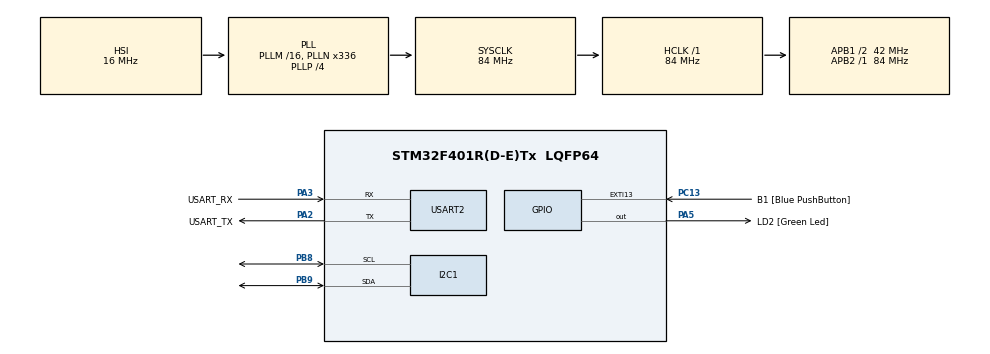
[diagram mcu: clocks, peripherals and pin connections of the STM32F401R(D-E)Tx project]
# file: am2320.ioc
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I2C1.AddressingMode=I2C_ADDRESSINGMODE_7BIT
Mcu.Family=STM32F4
Mcu.Name=STM32F401R(D-E)Tx
Mcu.Package=LQFP64
NVIC.I2C1_ER_IRQn=true\:0\:0\:false\:false\:true\:true\:true
NVIC.I2C1_EV_IRQn=true\:0\:0\:false\:false\:true\:true\:true
NVIC.PriorityGroup=NVIC_PRIORITYGROUP_0
NVIC.USART2_IRQn=true\:0\:0\:false\:false\:true\:true\:true
PA13.GPIO_Label=TMS
PA13.Mode=Trace_Asynchronous_SW
PA13.Signal=SYS_JTMS-SWDIO
PA14.GPIO_Label=TCK
PA14.Mode=Trace_Asynchronous_SW
PA14.Signal=SYS_JTCK-SWCLK
PA2.GPIO_Label=USART_TX
PA2.GPIO_Mode=GPIO_MODE_AF_PP
PA2.GPIO_PuPd=GPIO_NOPULL
PA2.GPIO_Speed=GPIO_SPEED_FREQ_LOW
PA2.Mode=Asynchronous
PA2.Signal=USART2_TX
PA3.GPIO_Label=USART_RX
PA3.GPIO_Mode=GPIO_MODE_AF_PP
PA3.GPIO_PuPd=GPIO_NOPULL
PA3.GPIO_Speed=GPIO_SPEED_FREQ_LOW
PA3.Mode=Asynchronous
PA3.Signal=USART2_RX
PA5.GPIO_Label=LD2 [Green Led]
PA5.GPIO_Mode=GPIO_MODE_OUTPUT_PP
PA5.GPIO_PuPd=GPIO_NOPULL
PA5.GPIO_Speed=GPIO_SPEED_FREQ_LOW
PA5.Signal=GPIO_Output
PB3.GPIO_Label=SWO
PB3.Mode=Trace_Asynchronous_SW
PB3.Signal=SYS_JTDO-SWO
PB8.GPIO_Speed=GPIO_SPEED_FREQ_VERY_HIGH
PB8.Mode=I2C
PB8.Signal=I2C1_SCL
PB9.GPIO_Speed=GPIO_SPEED_FREQ_VERY_HIGH
PB9.Mode=I2C
PB9.Signal=I2C1_SDA
PC13-ANTI_TAMP.GPIO_Label=B1 [Blue PushButton]
PC13-ANTI_TAMP.GPIO_ModeDefaultEXTI=GPIO_MODE_IT_FALLING
PC13-ANTI_TAMP.GPIO_PuPd=GPIO_NOPULL
PC13-ANTI_TAMP.Signal=GPXTI13
ProjectManager.HeapSize=0x200
ProjectManager.StackSize=0x400
ProjectManager.TargetToolchain=TrueSTUDIO
RCC.AHBFreq_Value=84000000
RCC.APB1CLKDivider=RCC_HCLK_DIV2
RCC.APB1Freq_Value=42000000
RCC.APB1TimFreq_Value=84000000
RCC.APB2Freq_Value=84000000
RCC.APB2TimFreq_Value=84000000
RCC.CortexFreq_Value=84000000
RCC.HCLKFreq_Value=84000000
RCC.HSE_VALUE=8000000
RCC.HSI_VALUE=16000000
RCC.LSE_VALUE=32768
RCC.PLLN=336
RCC.PLLP=RCC_PLLP_DIV4
RCC.PLLQ=7
RCC.SYSCLKFreq_VALUE=84000000
RCC.SYSCLKSource=RCC_SYSCLKSOURCE_PLLCLK
RCC.VCOOutputFreq_Value=336000000
USART2.VirtualMode=VM_ASYNC
board=NUCLEO-F401RE

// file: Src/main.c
/* USER CODE BEGIN Header */
/**
 ******************************************************************************
 * @file           : main.c
 * @brief          : Main program body
 ******************************************************************************
 * @attention
 *
 Copyright 2019 SimpleMethod

 Permission is hereby granted, free of charge, to any person obtaining a copy of
 this software and associated documentation files (the "Software"), to deal in
 the Software without restriction, including without limitation the rights to
 use, copy, modify, merge, publish, distribute, sublicense, and/or sell copies
 of the Software, and to permit persons to whom the Software is furnished to do
 so, subject to the following conditions:

 The above copyright notice and this permission notice shall be included in all
 copies or substantial portions of the Software.

 THE SOFTWARE IS PROVIDED "AS IS", WITHOUT WARRANTY OF ANY KIND, EXPRESS OR
 IMPLIED, INCLUDING BUT NOT LIMITED TO THE WARRANTIES OF MERCHANTABILITY,
 FITNESS FOR A PARTICULAR PURPOSE AND NONINFRINGEMENT. IN NO EVENT SHALL THE
 AUTHORS OR COPYRIGHT HOLDERS BE LIABLE FOR ANY CLAIM, DAMAGES OR OTHER
 LIABILITY, WHETHER IN AN ACTION OF CONTRACT, TORT OR OTHERWISE, ARISING FROM,
 OUT OF OR IN CONNECTION WITH THE SOFTWARE OR THE USE OR OTHER DEALINGS IN
 THE SOFTWARE.
 ******************************************************************************
 */
/* USER CODE END Header */

#include "main.h"

/* USER CODE BEGIN Includes */
#include <stdio.h>
#include <stdarg.h>
#include <string.h>

#include "am2320.h"
/* USER CODE END Includes */

I2C_HandleTypeDef hi2c1;
UART_HandleTypeDef huart2;

void SystemClock_Config(void);
static void MX_GPIO_Init(void);
static void MX_I2C1_Init(void);
static void MX_USART2_UART_Init(void);

/* USER CODE BEGIN 0 */
void vprint(const char *fmt, va_list argp) {
	char string[200];
	if (0 < vsprintf(string, fmt, argp)) // build string
			{
		HAL_UART_Transmit(&huart2, (uint8_t*) string, strlen(string), 0xffffff); // send message via UART
	}
}

void my_printf(const char *fmt, ...) // custom printf() function
{
	va_list argp;
	va_start(argp, fmt);
	vprint(fmt, argp);
	va_end(argp);
}

/* USER CODE END 0 */

int main(void) {

	/* MCU Configuration--------------------------------------------------------*/

	/* Reset of all peripherals, Initializes the Flash interface and the Systick. */
	HAL_Init();

	/* Configure the system clock */
	SystemClock_Config();

	/* Initialize all configured peripherals */
	MX_GPIO_Init();
	MX_I2C1_Init();
	MX_USART2_UART_Init();
	/* USER CODE BEGIN 2 */
	Am2320_HandleTypeDef Am2320_;
	Am2320_ = am2320_Init(&hi2c1, AM2320_ADDRESS);
	float temperature, humidity;
	/* USER CODE END 2 */
	/* Infinite loop */
	/* USER CODE BEGIN WHILE */
	while (1) {
		am2320_GetTemperatureAndHumidity(&Am2320_, &temperature, &humidity);
		my_printf("=====================================\r\n");
		my_printf("Temperature: %.1fºC\r\n", temperature);
		my_printf("Humidity: %.1f%%\r\n", humidity);
		HAL_Delay(3000);
		/* USER CODE END WHILE */
	}
}

void SystemClock_Config(void) {
	RCC_OscInitTypeDef RCC_OscInitStruct = { 0 };
	RCC_ClkInitTypeDef RCC_ClkInitStruct = { 0 };

	/** Configure the main internal regulator output voltage
	 */
	__HAL_RCC_PWR_CLK_ENABLE()
	;
	__HAL_PWR_VOLTAGESCALING_CONFIG(PWR_REGULATOR_VOLTAGE_SCALE2);
	/** Initializes the CPU, AHB and APB busses clocks
	 */
	RCC_OscInitStruct.OscillatorType = RCC_OSCILLATORTYPE_HSI;
	RCC_OscInitStruct.HSIState = RCC_HSI_ON;
	RCC_OscInitStruct.HSICalibrationValue = RCC_HSICALIBRATION_DEFAULT;
	RCC_OscInitStruct.PLL.PLLState = RCC_PLL_ON;
	RCC_OscInitStruct.PLL.PLLSource = RCC_PLLSOURCE_HSI;
	RCC_OscInitStruct.PLL.PLLM = 16;
	RCC_OscInitStruct.PLL.PLLN = 336;
	RCC_OscInitStruct.PLL.PLLP = RCC_PLLP_DIV4;
	RCC_OscInitStruct.PLL.PLLQ = 7;
	if (HAL_RCC_OscConfig(&RCC_OscInitStruct) != HAL_OK) {
		Error_Handler();
	}
	/** Initializes the CPU, AHB and APB busses clocks
	 */
	RCC_ClkInitStruct.ClockType = RCC_CLOCKTYPE_HCLK | RCC_CLOCKTYPE_SYSCLK
			| RCC_CLOCKTYPE_PCLK1 | RCC_CLOCKTYPE_PCLK2;
	RCC_ClkInitStruct.SYSCLKSource = RCC_SYSCLKSOURCE_PLLCLK;
	RCC_ClkInitStruct.AHBCLKDivider = RCC_SYSCLK_DIV1;
	RCC_ClkInitStruct.APB1CLKDivider = RCC_HCLK_DIV2;
	RCC_ClkInitStruct.APB2CLKDivider = RCC_HCLK_DIV1;

	if (HAL_RCC_ClockConfig(&RCC_ClkInitStruct, FLASH_LATENCY_2) != HAL_OK) {
		Error_Handler();
	}
}

static void MX_I2C1_Init(void) {

	hi2c1.Instance = I2C1;
	hi2c1.Init.ClockSpeed = 100000;
	hi2c1.Init.DutyCycle = I2C_DUTYCYCLE_2;
	hi2c1.Init.OwnAddress1 = 0;
	hi2c1.Init.AddressingMode = I2C_ADDRESSINGMODE_7BIT;
	hi2c1.Init.DualAddressMode = I2C_DUALADDRESS_DISABLE;
	hi2c1.Init.OwnAddress2 = 0;
	hi2c1.Init.GeneralCallMode = I2C_GENERALCALL_DISABLE;
	hi2c1.Init.NoStretchMode = I2C_NOSTRETCH_DISABLE;
	if (HAL_I2C_Init(&hi2c1) != HAL_OK) {
		Error_Handler();
	}

}

static void MX_USART2_UART_Init(void) {

	huart2.Instance = USART2;
	huart2.Init.BaudRate = 115200;
	huart2.Init.WordLength = UART_WORDLENGTH_8B;
	huart2.Init.StopBits = UART_STOPBITS_1;
	huart2.Init.Parity = UART_PARITY_NONE;
	huart2.Init.Mode = UART_MODE_TX_RX;
	huart2.Init.HwFlowCtl = UART_HWCONTROL_NONE;
	huart2.Init.OverSampling = UART_OVERSAMPLING_16;
	if (HAL_UART_Init(&huart2) != HAL_OK) {
		Error_Handler();
	}

}

static void MX_GPIO_Init(void) {
	GPIO_InitTypeDef GPIO_InitStruct = { 0 };

	/* GPIO Ports Clock Enable */
	__HAL_RCC_GPIOC_CLK_ENABLE()
	;
	__HAL_RCC_GPIOA_CLK_ENABLE()
	;
	__HAL_RCC_GPIOB_CLK_ENABLE()
	;

	/*Configure GPIO pin Output Level */
	HAL_GPIO_WritePin(LD2_GPIO_Port, LD2_Pin, GPIO_PIN_RESET);

	/*Configure GPIO pin : B1_Pin */
	GPIO_InitStruct.Pin = B1_Pin;
	GPIO_InitStruct.Mode = GPIO_MODE_IT_FALLING;
	GPIO_InitStruct.Pull = GPIO_NOPULL;
	HAL_GPIO_Init(B1_GPIO_Port, &GPIO_InitStruct);

	/*Configure GPIO pin : LD2_Pin */
	GPIO_InitStruct.Pin = LD2_Pin;
	GPIO_InitStruct.Mode = GPIO_MODE_OUTPUT_PP;
	GPIO_InitStruct.Pull = GPIO_NOPULL;
	GPIO_InitStruct.Speed = GPIO_SPEED_FREQ_LOW;
	HAL_GPIO_Init(LD2_GPIO_Port, &GPIO_InitStruct);

}

void Error_Handler(void) {
}
